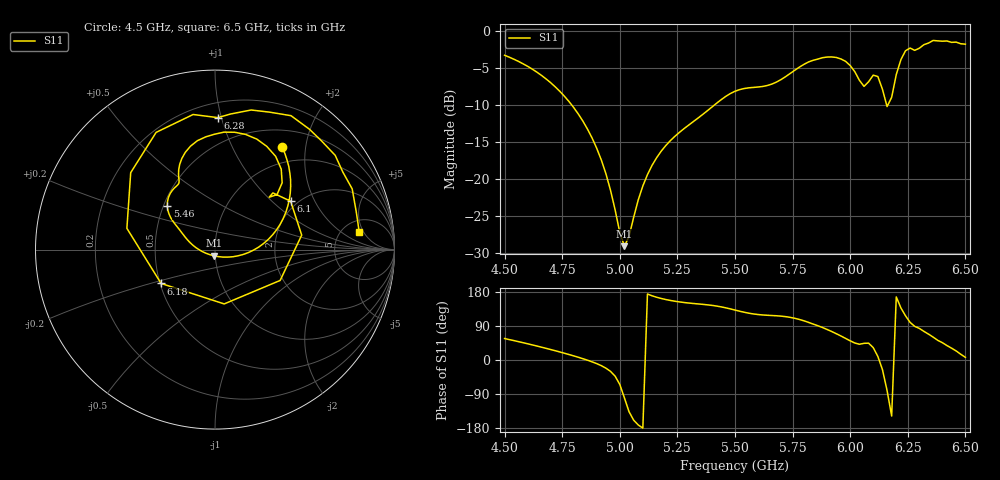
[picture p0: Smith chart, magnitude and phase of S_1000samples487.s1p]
! TOUCHSTONE file generated by CST MICROWAVE STUDIO
! Date and time: Fri Oct 28 08:13:24 2022
! Project name: L.cst
! Parameters = {Di=1.27; Epsilon_r=1.56; InnerDiameter=1.27; Length=2; Lf=10; Lg=60; OuterConductorThickness=0.2921; OuterDiameter=3.6; Wf=3; Wp=41.2; de=1.5; df=6.8; g=0.8; gx=2.6899; gy=1.95549; h=2.34; hf=1.524; px=14.3316; py=13.1903; w=9.7; wx=11.6417; wy=11.2348}
! Header version: 2018
! Port assignment regex: !\s*Touchstone port\s*([0-9]+)\s*=\s*(CST MWS port|CST DS port)\s*([0-9]+|Zmin|Zmax)\s*\(\"(.*)\"\)(\s*mode\s*([0-9]+))?.*
! Touchstone port assignment:
! Touchstone port 1 = CST MWS port 1 ("")
# GHz S DB R 50
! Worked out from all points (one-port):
!   101 points, 4.5 GHz to 6.5 GHz, reference 50 ohm
!   lowest |S11| = -29.1 dB at 5.02 GHz (marker M1), VSWR 1.07, Z = 49.3 - j3.41 ohm
!   |S11| at or under -10 dB: 4.79 GHz to 5.413 GHz (622.6 MHz wide, 12.2 % of centre); 6.157769 GHz to 6.164153 GHz (6.384 MHz wide, 0.104 % of centre)
!   S11 on the Smith chart (normalised r, x): 4.5 GHz: 0.75, +1.59; 5.46 GHz: 0.52, +0.29; 6.1 GHz: 1.84, +1.32; 6.18 GHz: 0.51, -0.22; 6.28 GHz: 0.30, +0.97; 6.5 GHz: 7.11, +4.10
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4.5  -3.33 56.6
4.64  -5.61 36.9
4.76  -8.88 17.8
4.9  -15.91 -9.7
4.96  -21.60 -30.2
5  -27.28 -64.6
5.02  -29.11 -99.9
5.12  -19.46 174.2
5.26  -13.71 153.2
5.46  -8.88 137.7
5.5  -8.19 131.8
5.76  -5.34 110.0
5.9  -3.57 80.4
6  -4.72 50.6
6.06  -7.53 44.0
6.1  -6.02 32.6
6.12  -6.20 9.5
6.14  -7.93 -25.3
6.16  -10.26 -80.4
6.18  -9.01 -147.8
6.2  -5.93 166.4
6.22  -3.93 137.6
6.24  -2.72 116.7
6.26  -2.36 99.2
6.28  -2.67 88.8
6.36  -1.33 60.4
6.42  -1.40 38.1
6.5  -1.83 7.0
